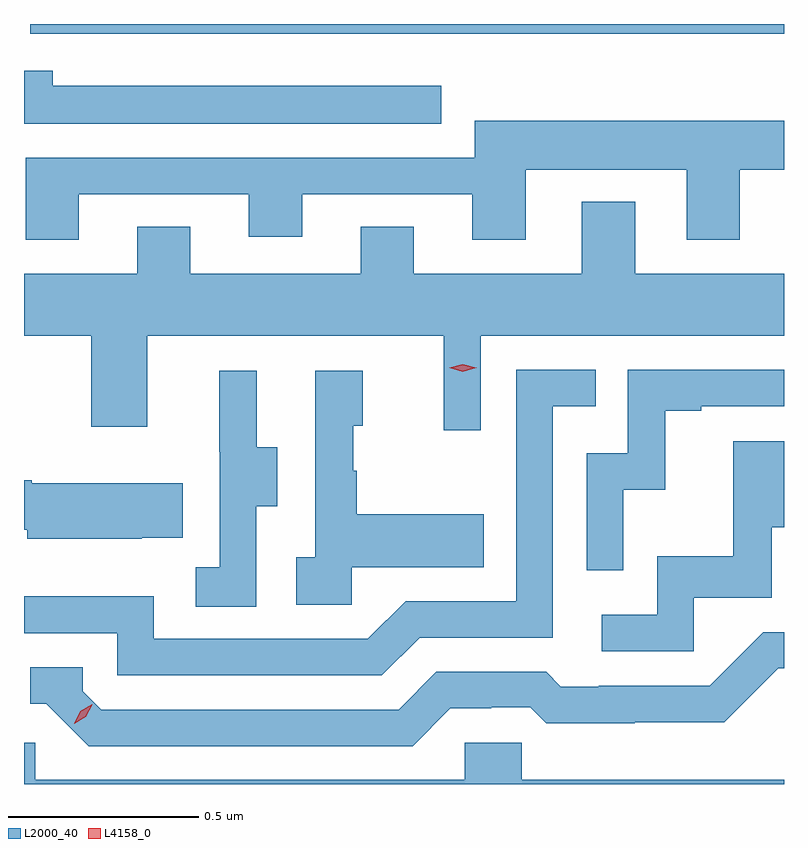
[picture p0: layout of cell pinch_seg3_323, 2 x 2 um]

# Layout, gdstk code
import gdstk
lib = gdstk.Library(unit=1e-6, precision=1e-09)
def R(c, l, rs):  # rectangles x0, y0, x1, y1
    for r in rs: c.add(gdstk.rectangle(r[:2], r[2:], *l))
def P(c, l, *ps):  # polygons
    for p in ps: c.add(gdstk.Polygon(p, *l))
L2000_40 = (2000, 40)
L4158_0 = (4158, 0)

pinch_seg3_323 = lib.new_cell('pinch_seg3_323')
R(pinch_seg3_323, L2000_40, [(999.275,716.363,1001.259,716.389)])
P(pinch_seg3_323, L2000_40, [(1000.357,716.227),(999.334,716.227),(999.334,716.266),(999.259,716.266),(999.259,716.126),(1000.357,716.126)],
  [(999.403,715.941),(999.851,715.941),(999.851,715.829),(999.991,715.829),(999.991,715.941),(1000.439,715.941),(1000.439,715.821),(1000.579,715.821),(1000.579,716.006),(1001.003,716.006),(1001.003,715.821),(1001.143,715.821),(1001.143,716.006),(1001.259,716.006),(1001.259,716.134),(1000.445,716.134),(1000.445,716.037),(999.263,716.037),(999.263,715.821),(999.403,715.821)],
  [(1000.461,715.568),(1001.259,715.568),(1001.259,715.732),(1000.867,715.732),(1000.867,715.921),(1000.727,715.921),(1000.727,715.732),(1000.285,715.732),(1000.285,715.856),(1000.145,715.856),(1000.145,715.732),(999.697,715.732),(999.697,715.856),(999.557,715.856),(999.557,715.732),(999.259,715.732),(999.259,715.568),(999.436,715.568),(999.436,715.329),(999.583,715.329),(999.583,715.568),(1000.364,715.568),(1000.364,715.32),(1000.461,715.32)],
  [(1000.3,714.774),(1000.65,714.774),(1000.65,715.383),(1000.763,715.383),(1000.763,715.479),(1000.554,715.479),(1000.554,714.87),(1000.263,714.87),(1000.164,714.771),(999.6,714.771),(999.6,714.883),(999.259,714.883),(999.259,714.786),(999.504,714.786),(999.504,714.675),(1000.201,714.675)],
  [(1000.836,715.163),(1000.946,715.163),(1000.946,715.371),(1001.041,715.371),(1001.041,715.383),(1001.259,715.383),(1001.259,715.479),(1000.848,715.479),(1000.848,715.26),(1000.74,715.26),(1000.74,714.951),(1000.836,714.951)],
  [(999.87,715.12),(999.925,715.12),(999.925,715.275),(999.871,715.275),(999.871,715.477),(999.773,715.477),(999.773,715.263),(999.774,715.263),(999.774,714.959),(999.711,714.959),(999.711,714.856),(999.87,714.856)],
  [(1000.122,714.959),(1000.469,714.959),(1000.469,715.099),(1000.135,715.099),(1000.135,715.214),(1000.125,715.214),(1000.125,715.332),(1000.15,715.332),(1000.15,715.477),(1000.026,715.477),(1000.026,714.986),(999.975,714.986),(999.975,714.861),(1000.122,714.861)],
  [(1001.022,714.879),(1001.227,714.879),(1001.227,715.065),(1001.259,715.065),(1001.259,715.291),(1001.125,715.291),(1001.125,714.988),(1000.926,714.988),(1000.926,714.834),(1000.779,714.834),(1000.779,714.738),(1001.022,714.738)],
  [(999.569,715.037),(999.677,715.037),(999.677,715.18),(999.28,715.18),(999.28,715.188),(999.259,715.188),(999.259,715.058),(999.267,715.058),(999.267,715.034),(999.569,715.034)],
  [(1000.381,714.588),(1000.488,714.588),(1000.488,714.591),(1000.591,714.591),(1000.633,714.549),(1000.866,714.549),(1000.866,714.551),(1001.102,714.551),(1001.244,714.693),(1001.259,714.693),(1001.259,714.789),(1001.205,714.789),(1001.064,714.648),(1000.771,714.648),(1000.771,714.645),(1000.672,714.645),(1000.633,714.684),(1000.344,714.684),(1000.245,714.585),(999.462,714.585),(999.414,714.633),(999.414,714.696),(999.275,714.696),(999.275,714.6),(999.318,714.6),(999.429,714.489),(1000.282,714.489)],
  [(1001.259,714.4),(1000.569,714.4),(1000.569,714.498),(1000.419,714.498),(1000.419,714.4),(999.288,714.4),(999.288,714.498),(999.259,714.498),(999.259,714.389),(1001.259,714.389)])
P(pinch_seg3_323, L4158_0, [(999.391,714.547),(999.391,714.547),(999.407,714.58),(999.438,714.599),(999.438,714.599),(999.438,714.598),(999.422,714.566),(999.391,714.547)],
  [(1000.414,715.474),(1000.378,715.484),(1000.378,715.484),(1000.378,715.484),(1000.414,715.494),(1000.449,715.484),(1000.45,715.484),(1000.449,715.484)])

lib.write_gds('pinch_seg3_323.gds')
